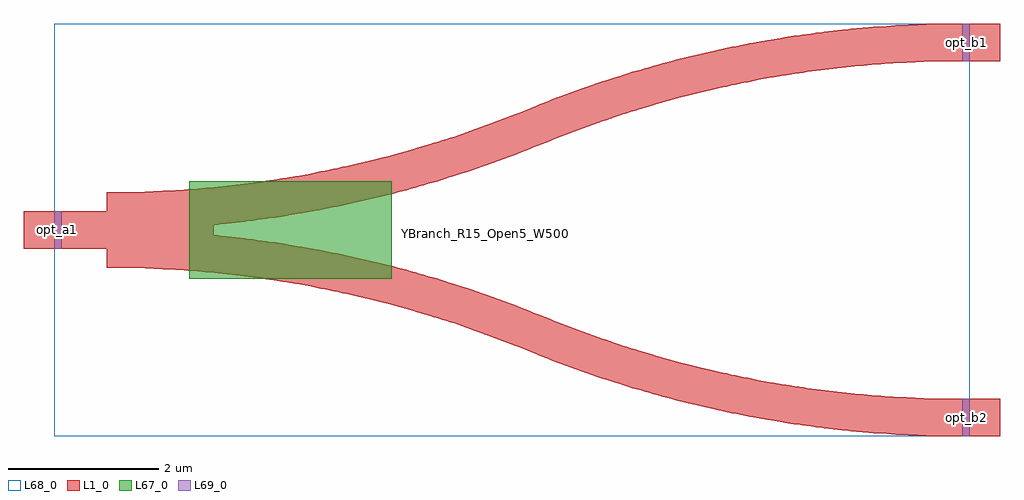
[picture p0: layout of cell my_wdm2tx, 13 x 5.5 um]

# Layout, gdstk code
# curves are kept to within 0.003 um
import gdstk
lib = gdstk.Library(unit=1e-6, precision=1e-09)
def R(c, l, rs):  # rectangles x0, y0, x1, y1
    for r in rs: c.add(gdstk.rectangle(r[:2], r[2:], *l))
def P(c, l, *ps):  # polygons
    for p in ps: c.add(gdstk.Polygon(p, *l))
L1_0 = (1, 0)
L67_0 = (67, 0)
L68_0 = (68, 0)
L69_0 = (69, 0)

my_wdm2tx = lib.new_cell('my_wdm2tx')
R(my_wdm2tx, L1_0, [(10.8,6.8,11.3,7.3), (-1.7,9.3,-1.2,9.8), (10.8,11.8,11.1,12.3)])
P(my_wdm2tx, L1_0, [(1.77,9.365),(1.475,9.41),(1.24,9.44),(0.825,9.485),(0.825,9.615),(1.24,9.66),(1.475,9.69),(1.805,9.74),(1.805,10.245),(1.745,10.24),(1.405,10.185),(1.005,10.14),(0.95,10.13),(0.375,10.08),(-0.14,10.055),(-0.6,10.05),(-0.6,9.8),(-1.2,9.8),(-1.2,9.3),(-0.6,9.3),(-0.6,9.05),(-0.14,9.045),(0.375,9.02),(0.95,8.97),(1.005,8.96),(1.405,8.915),(1.745,8.86),(1.805,8.855),(1.805,9.36)],
  [(10.57,7.3),(10.515,7.305),(10.34,7.305),(9.825,7.33),(9.25,7.38),(9.195,7.39),(8.795,7.435),(8.455,7.49),(8.395,7.495),(8.055,7.555),(8,7.57),(7.83,7.6),(7.215,7.74),(6.715,7.875),(6.66,7.895),(6.495,7.94),(6,8.1),(5.355,8.34),(5.03,8.475),(4.81,8.56),(4.79,8.03),(5.335,7.81),(5.95,7.59),(6.18,7.515),(6.405,7.445),(6.52,7.415),(6.575,7.395),(6.75,7.35),(6.805,7.33),(7.095,7.255),(7.5,7.16),(7.905,7.075),(8.43,6.985),(8.725,6.94),(9.08,6.895),(9.255,6.88),(9.315,6.87),(9.67,6.84),(9.73,6.84),(10.085,6.815),(10.325,6.805),(10.505,6.805),(10.56,6.8),(10.8,6.8),(10.8,7.3)],
  [(5.03,10.625),(5.355,10.76),(6,11),(6.495,11.16),(6.66,11.205),(6.715,11.225),(7.215,11.36),(7.83,11.5),(8,11.53),(8.055,11.545),(8.395,11.605),(8.455,11.61),(8.795,11.665),(9.195,11.71),(9.25,11.72),(9.825,11.77),(9.88,11.77),(9.995,11.78),(10.34,11.795),(10.8,11.8),(10.8,12.3),(10.325,12.295),(9.91,12.275),(9.73,12.26),(9.67,12.26),(9.315,12.23),(8.725,12.16),(8.61,12.14),(8.55,12.135),(8.02,12.045),(7.73,11.99),(7.095,11.845),(6.575,11.705),(6.52,11.685),(6.405,11.655),(6.18,11.585),(5.95,11.51),(5.725,11.43),(5.335,11.29),(4.79,11.07),(4.81,10.54)],
  [(4.75,8.58),(4.19,8.78),(3.795,8.905),(3.68,8.935),(3.625,8.955),(3.45,9),(3.395,9.02),(2.875,9.15),(2.47,9.24),(2.295,9.275),(1.805,9.36),(1.805,8.855),(2.145,8.795),(2.2,8.78),(2.37,8.75),(2.76,8.66),(2.82,8.65),(2.93,8.62),(2.985,8.61),(3.485,8.475),(3.54,8.455),(3.705,8.41),(4.2,8.25),(4.79,8.03),(4.81,8.56)],
  [(2,9.775),(2.295,9.825),(2.7,9.91),(3.105,10.005),(3.395,10.08),(3.45,10.1),(3.625,10.145),(3.68,10.165),(3.795,10.195),(4.19,10.32),(4.81,10.54),(4.79,11.07),(4.2,10.85),(3.705,10.69),(3.54,10.645),(3.485,10.625),(2.985,10.49),(2.93,10.48),(2.82,10.45),(2.76,10.44),(2.37,10.35),(2.2,10.32),(2.145,10.305),(1.805,10.245),(1.805,9.74)])
R(my_wdm2tx, L67_0, [(0.5,8.9,3.2,10.2)])
R(my_wdm2tx, L68_0, [(-1.3,6.8,10.9,12.3)])
R(my_wdm2tx, L69_0, [(10.8,6.8,10.9,7.3), (-1.3,9.3,-1.2,9.8), (10.8,11.8,10.9,12.3)])
my_wdm2tx.add(gdstk.FlexPath([(11.1,12.05),(11.3,12.05)], 0.5, ends="flush", simple_path=True, layer=1, datatype=0))  # L1_0
my_wdm2tx.add(gdstk.Label('opt_b2', (10.85,7.05), layer=69, texttype=0))
my_wdm2tx.add(gdstk.Label('opt_b1', (10.85,12.05), layer=69, texttype=0))
my_wdm2tx.add(gdstk.Label('opt_a1', (-1.25,9.55), layer=69, texttype=0))
my_wdm2tx.add(gdstk.Label('YBranch_R15_Open5_W500', (4.45,9.5), layer=68, texttype=0))

lib.write_gds('my_wdm2tx.gds')
